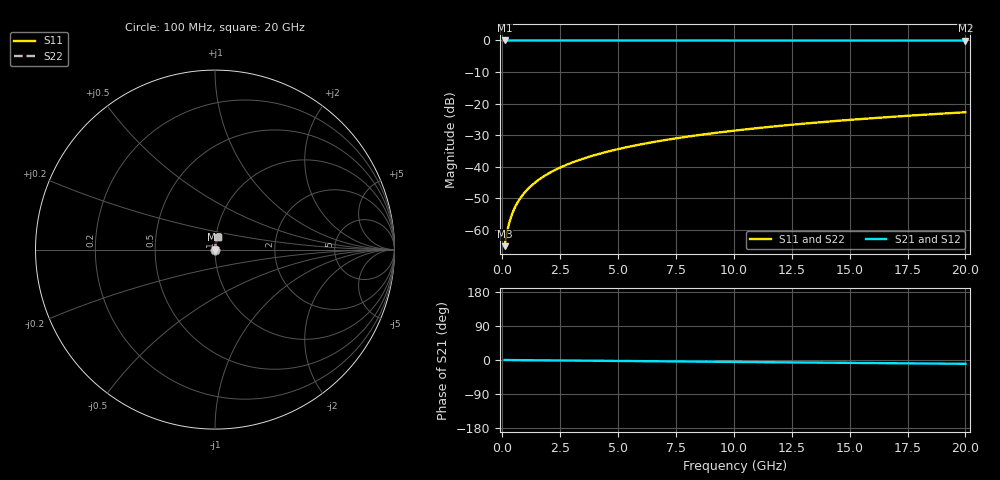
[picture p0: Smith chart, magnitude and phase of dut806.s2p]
! Touchstone file exported from HFSS 2026.1.0
!  File:  C:/ffzhzh/LocalFiles/Ansys_Project_Files/temp_train_TSV_806_1783184211_51560.aedt
!  Generated:  12:58:23 AM Jul  5, 2026
!  Design:  TSV
!  Project:  temp_train_TSV_806_1783184211_51560
! Variables:
!  h_bsmrdl = 2um
!  h_ox = 20um
!  h_rdl = 5um
!  h_sub = 91.82um
!  h_tmrdl = 5um
!  h_tsv = 91.82um
!  h_via = 3um
!  l_bsmrdl = 300um
!  l_sub = 411.3um
!  l_tmrdl = 200um
!  m_sub = 200um
!  pitch = 43.57um
!  r_tsv = 5.65um
!  s_tmrdl = 10um
!  w_bsmrdl = 18um
!  w_sub = 500um
!  w_tmrdl = 12um
!  x_tsv_center1 = 206um
!  x_tsv_center2 = 524um
!  x_tsv_center3 = 736um
!  x_tsv_center4 = 1054um
!  x_tsv_center5 = 1266um
!  x_tsv_center6 = 1584um
# GHz S MA R 50.000000
! Terminal data exported
! Port[1] = TSV1_1_T1
! Port[2] = TSV1_1_T2
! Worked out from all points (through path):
!   200 points, 100 MHz to 20 GHz, reference 50 ohm
!   highest |S21| = 0.00 dB at 100 MHz (marker M1); lowest = 0.0 dB at 20 GHz (marker M2)
!   group delay of S21, straight-line fit = 1.4 ps
!   lowest |S11| = -65.2 dB at 100 MHz (marker M3), VSWR 1.00, Z = 50 + j0.0414 ohm
!   |S11| at or under -10 dB: start of sweep to end of sweep
!   |S22| runs from -65.2 to -22.8 dB; largest |S21 - S12| = 2e-15
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0.1  0.0005494 48.9  0.9996 -0.1  0.9996 -0.1  0.0005494 48.9
! Gamma 0 0 0 0
! Port Impedance 50 0 50 0
0.2  0.0009056 65.7  0.9996 -0.1  0.9996 -0.1  0.0009056 65.7
0.3  0.001294 72.5  0.9996 -0.2  0.9996 -0.2  0.001294 72.5
0.4  0.001689 76.0  0.9996 -0.2  0.9996 -0.2  0.001689 76.0
0.5  0.002084 78.0  0.9996 -0.3  0.9996 -0.3  0.002084 78.0
0.6  0.002477 79.3  0.9996 -0.3  0.9996 -0.3  0.002477 79.3
0.7  0.002867 80.2  0.9995 -0.4  0.9995 -0.4  0.002867 80.2
0.8  0.003254 80.9  0.9995 -0.4  0.9995 -0.4  0.003254 80.9
1  0.004023 81.9  0.9995 -0.5  0.9995 -0.5  0.004023 81.9
1.4  0.005545 83.0  0.9994 -0.7  0.9994 -0.7  0.005545 83.0
1.7  0.006679 83.5  0.9993 -0.9  0.9993 -0.9  0.006679 83.5
2  0.00781 83.9  0.9993 -1.0  0.9993 -1.0  0.00781 83.9
2.7  0.01044 84.2  0.9991 -1.4  0.9991 -1.4  0.01044 84.2
3.5  0.01342 84.3  0.999 -1.8  0.999 -1.8  0.01342 84.3
4.2  0.01602 84.3  0.9989 -2.2  0.9989 -2.2  0.01602 84.3
5  0.01896 84.1  0.9987 -2.6  0.9987 -2.6  0.01896 84.1
6.8  0.02554 83.6  0.9984 -3.5  0.9984 -3.5  0.02554 83.6
8.3  0.03099 83.1  0.9981 -4.2  0.9981 -4.2  0.03099 83.1
10.1  0.03751 82.5  0.9977 -5.1  0.9977 -5.1  0.03751 82.5
13.4  0.04938 81.2  0.997 -6.8  0.997 -6.8  0.04938 81.2
16.7  0.06116 79.7  0.9961 -8.4  0.9961 -8.4  0.06116 79.7
20  0.07282 78.2  0.9951 -10.1  0.9951 -10.1  0.07282 78.2
